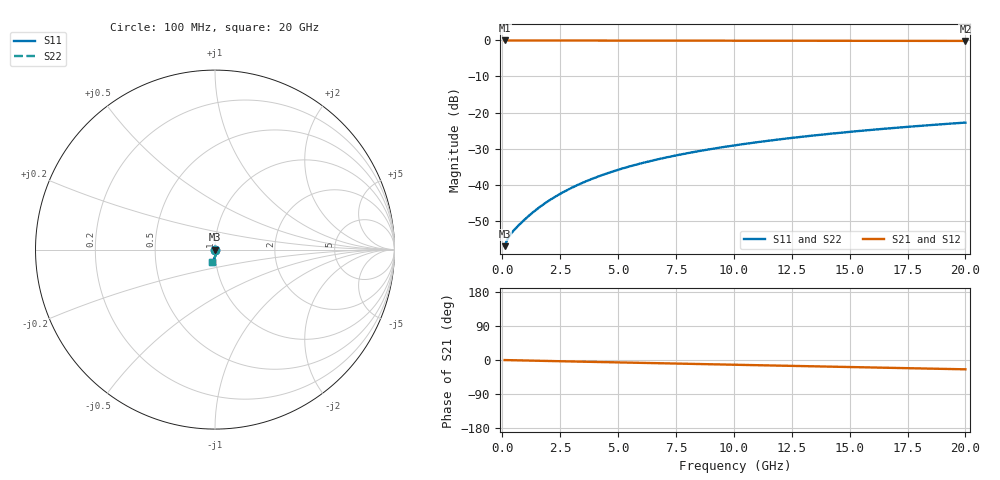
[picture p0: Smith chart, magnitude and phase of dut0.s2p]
! Touchstone file exported from HFSS 2026.1.0
!  File:  C:/ffzhzh/LocalFiles/Ansys_Project_Files/temp_test_BSMRDL_0_1782907168_46784.aedt
!  Generated:  08:00:32 PM Jul  1, 2026
!  Design:  BSMRDL
!  Project:  temp_test_BSMRDL_0_1782907168_46784
! Variables:
!  h_bsmrdl = 5.35um
!  h_ox = 20um
!  h_rdl = 5um
!  h_sub = 80um
!  h_tmrdl = 5um
!  h_tsv = 80um
!  h_via = 3um
!  l_bsmrdl = 431.61um
!  l_sub = 831.61um
!  l_tmrdl = 200um
!  m_sub = 200um
!  pitch = 29.13um
!  r_tsv = 6um
!  s_tmrdl = 10um
!  w_bsmrdl = 25.52um
!  w_sub = 500um
!  w_tmrdl = 12um
!  x_tsv_center1 = 206um
!  x_tsv_center2 = 663.13um
!  x_tsv_center3 = 875.13um
!  x_tsv_center4 = 1332.26um
!  x_tsv_center5 = 1544.26um
!  x_tsv_center6 = 2001.39um
# GHz S MA R 50.000000
! Terminal data exported
! Port[1] = BSM_RDL1_1_T1
! Port[2] = BSM_RDL1_1_T2
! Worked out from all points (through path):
!   200 points, 100 MHz to 20 GHz, reference 50 ohm
!   highest |S21| = -0.01 dB at 100 MHz (marker M1); lowest = -0.1 dB at 20 GHz (marker M2)
!   group delay of S21, straight-line fit = 3.4 ps
!   lowest |S11| = -57.0 dB at 100 MHz (marker M3), VSWR 1.00, Z = 50.1 + j0.0146 ohm
!   |S11| at or under -10 dB: start of sweep to end of sweep
!   |S22| runs from -57.0 to -22.8 dB; largest |S21 - S12| = 5e-15
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0.1  0.001409 5.9  0.9986 -0.2  0.9986 -0.2  0.001409 5.9
! Gamma 0 0 0 0
! Port Impedance 50 0 50 0
0.2  0.001696 2.2  0.9983 -0.3  0.9983 -0.3  0.001696 2.2
0.3  0.001942 -5.2  0.9981 -0.4  0.9981 -0.4  0.001941 -5.2
0.4  0.002149 -12.7  0.9979 -0.6  0.9979 -0.6  0.002149 -12.7
0.6  0.002532 -25.2  0.9977 -0.8  0.9977 -0.8  0.002532 -25.2
0.9  0.003149 -38.4  0.9975 -1.2  0.9975 -1.2  0.003148 -38.4
1.4  0.004341 -51.2  0.9971 -1.8  0.9971 -1.8  0.00434 -51.2
1.9  0.005698 -58.3  0.9968 -2.5  0.9968 -2.5  0.005696 -58.4
2.4  0.00718 -62.9  0.9964 -3.1  0.9964 -3.1  0.007178 -62.9
2.9  0.008762 -66.2  0.9959 -3.7  0.9959 -3.7  0.008759 -66.2
3.5  0.01077 -69.2  0.9954 -4.5  0.9954 -4.5  0.01076 -69.2
4.2  0.01321 -72.1  0.9947 -5.4  0.9947 -5.4  0.01321 -72.2
5  0.01611 -75.0  0.994 -6.4  0.994 -6.4  0.0161 -75.0
5.9  0.01945 -77.8  0.9933 -7.5  0.9933 -7.5  0.01944 -77.9
6.8  0.02284 -80.3  0.9926 -8.6  0.9926 -8.6  0.02283 -80.4
8.3  0.02853 -84.0  0.9915 -10.4  0.9915 -10.4  0.02852 -84.1
10.1  0.03541 -87.9  0.9903 -12.6  0.9903 -12.6  0.03539 -88.0
11.7  0.04152 -91.0  0.9893 -14.5  0.9893 -14.5  0.04149 -91.0
13.4  0.04799 -94.0  0.9882 -16.6  0.9882 -16.6  0.04796 -94.1
15  0.05406 -96.6  0.9872 -18.6  0.9872 -18.6  0.05402 -96.7
16.7  0.06046 -99.4  0.9861 -20.6  0.9861 -20.6  0.06042 -99.5
20  0.07269 -104.3  0.984 -24.6  0.984 -24.6  0.07265 -104.4
